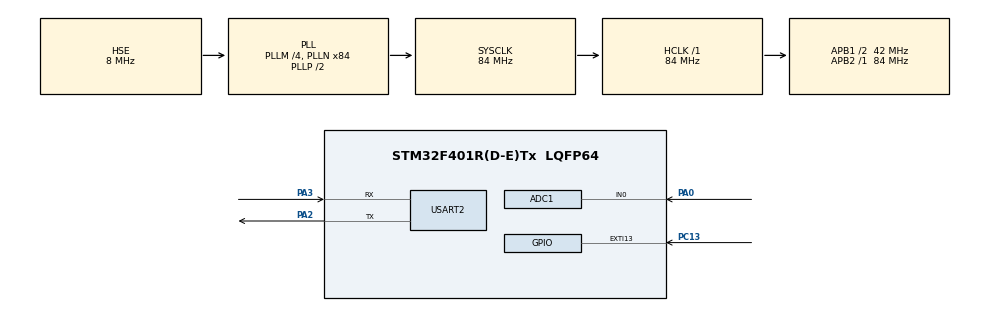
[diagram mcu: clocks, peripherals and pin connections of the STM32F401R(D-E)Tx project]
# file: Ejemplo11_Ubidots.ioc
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ADC1.Channel-0\#ChannelRegularConversion=ADC_CHANNEL_0
ADC1.NbrOfConversionFlag=1
ADC1.Rank-0\#ChannelRegularConversion=1
ADC1.SamplingTime-0\#ChannelRegularConversion=ADC_SAMPLETIME_3CYCLES
ADC1.master=1
Mcu.Family=STM32F4
Mcu.Name=STM32F401R(D-E)Tx
Mcu.Package=LQFP64
NVIC.EXTI15_10_IRQn=true\:0\:0\:false\:false\:true\:true\:true\:true
NVIC.PriorityGroup=NVIC_PRIORITYGROUP_4
NVIC.USART2_IRQn=true\:0\:0\:false\:false\:true\:true\:true\:true
PA0-WKUP.Signal=ADCx_IN0
PA13.Mode=Serial_Wire
PA13.Signal=SYS_JTMS-SWDIO
PA14.Mode=Serial_Wire
PA14.Signal=SYS_JTCK-SWCLK
PA2.Mode=Asynchronous
PA2.Signal=USART2_TX
PA3.Mode=Asynchronous
PA3.Signal=USART2_RX
PC13-ANTI_TAMP.GPIO_ModeDefaultEXTI=GPIO_MODE_IT_FALLING
PC13-ANTI_TAMP.GPIO_PuPd=GPIO_PULLUP
PC13-ANTI_TAMP.Signal=GPXTI13
PH0\ -\ OSC_IN.Mode=HSE-External-Clock-Source
PH0\ -\ OSC_IN.Signal=RCC_OSC_IN
PH1\ -\ OSC_OUT.Mode=HSE-External-Clock-Source
PH1\ -\ OSC_OUT.Signal=RCC_OSC_OUT
ProjectManager.HeapSize=0x200
ProjectManager.StackSize=0x400
ProjectManager.TargetToolchain=STM32CubeIDE
RCC.48MHZClocksFreq_Value=42000000
RCC.AHBFreq_Value=84000000
RCC.APB1CLKDivider=RCC_HCLK_DIV2
RCC.APB1Freq_Value=42000000
RCC.APB1TimFreq_Value=84000000
RCC.APB2Freq_Value=84000000
RCC.APB2TimFreq_Value=84000000
RCC.CortexFreq_Value=84000000
RCC.HCLKFreq_Value=84000000
RCC.HSE_VALUE=8000000
RCC.HSI_VALUE=16000000
RCC.LSE_VALUE=32768
RCC.PLLM=4
RCC.PLLN=84
RCC.PLLSourceVirtual=RCC_PLLSOURCE_HSE
RCC.SYSCLKFreq_VALUE=84000000
RCC.SYSCLKSource=RCC_SYSCLKSOURCE_PLLCLK
RCC.VCOOutputFreq_Value=168000000
SH.ADCx_IN0.0=ADC1_IN0,IN0
USART2.VirtualMode=VM_ASYNC
board=custom

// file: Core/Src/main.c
/* USER CODE BEGIN Header */
/**
  ******************************************************************************
  * @file           : main.c
  * @brief          : Main program body
  ******************************************************************************
  * @attention
  *
  * Copyright (c) 2023 STMicroelectronics.
  * All rights reserved.
  *
  * This software is licensed under terms that can be found in the LICENSE file
  * in the root directory of this software component.
  * If no LICENSE file comes with this software, it is provided AS-IS.
  *
  ******************************************************************************
  */
/* USER CODE END Header */
#include "main.h"

/* USER CODE BEGIN Includes */
#include "stdio.h"
#include "string.h"
/* USER CODE END Includes */

ADC_HandleTypeDef hadc1;

UART_HandleTypeDef huart2;

void SystemClock_Config(void);
static void MX_GPIO_Init(void);
static void MX_ADC1_Init(void);
static void MX_USART2_UART_Init(void);

/* USER CODE BEGIN 0 */
int __io_putchar(int ch){

	  HAL_UART_Transmit(&huart2, (const uint8_t *)&ch, (uint16_t)1, HAL_MAX_DELAY);

	  return ch;
}
uint32_t AnalogRead(uint32_t channel){

	   uint32_t ADC_VALUE;

	  ADC_ChannelConfTypeDef sConfig = {0};

	    sConfig.Channel = channel;
	    sConfig.Rank = 1;
	    sConfig.SamplingTime = ADC_SAMPLETIME_3CYCLES;
	    if (HAL_ADC_ConfigChannel(&hadc1, &sConfig) != HAL_OK)
	    {
	      Error_Handler();
	    }
	    HAL_ADC_Start(&hadc1);
	    if(HAL_ADC_PollForConversion(&hadc1, 1000000)==HAL_OK){

	    	ADC_VALUE = HAL_ADC_GetValue(&hadc1);
	    }
	    HAL_ADC_Stop(&hadc1);
	    return ADC_VALUE;
}
uint16_t adc[3];
volatile uint8_t rx=0;
extern volatile uint8_t contador;
/* USER CODE END 0 */

int main(void)
{

  /* MCU Configuration--------------------------------------------------------*/

  /* Reset of all peripherals, Initializes the Flash interface and the Systick. */
  HAL_Init();

  /* Configure the system clock */
  SystemClock_Config();

  /* Initialize all configured peripherals */
  MX_GPIO_Init();
  MX_ADC1_Init();
  MX_USART2_UART_Init();
  /* USER CODE BEGIN 2 */
  HAL_UART_Receive_IT(&huart2, &rx, 1);
  /* USER CODE END 2 */

  /* Infinite loop */
  while (1)
  {

  }
}

void SystemClock_Config(void)
{
  RCC_OscInitTypeDef RCC_OscInitStruct = {0};
  RCC_ClkInitTypeDef RCC_ClkInitStruct = {0};

  /** Configure the main internal regulator output voltage
  */
  __HAL_RCC_PWR_CLK_ENABLE();
  __HAL_PWR_VOLTAGESCALING_CONFIG(PWR_REGULATOR_VOLTAGE_SCALE2);

  /** Initializes the RCC Oscillators according to the specified parameters
  * in the RCC_OscInitTypeDef structure.
  */
  RCC_OscInitStruct.OscillatorType = RCC_OSCILLATORTYPE_HSE;
  RCC_OscInitStruct.HSEState = RCC_HSE_BYPASS;
  RCC_OscInitStruct.PLL.PLLState = RCC_PLL_ON;
  RCC_OscInitStruct.PLL.PLLSource = RCC_PLLSOURCE_HSE;
  RCC_OscInitStruct.PLL.PLLM = 4;
  RCC_OscInitStruct.PLL.PLLN = 84;
  RCC_OscInitStruct.PLL.PLLP = RCC_PLLP_DIV2;
  RCC_OscInitStruct.PLL.PLLQ = 4;
  if (HAL_RCC_OscConfig(&RCC_OscInitStruct) != HAL_OK)
  {
    Error_Handler();
  }

  /** Initializes the CPU, AHB and APB buses clocks
  */
  RCC_ClkInitStruct.ClockType = RCC_CLOCKTYPE_HCLK|RCC_CLOCKTYPE_SYSCLK
                              |RCC_CLOCKTYPE_PCLK1|RCC_CLOCKTYPE_PCLK2;
  RCC_ClkInitStruct.SYSCLKSource = RCC_SYSCLKSOURCE_PLLCLK;
  RCC_ClkInitStruct.AHBCLKDivider = RCC_SYSCLK_DIV1;
  RCC_ClkInitStruct.APB1CLKDivider = RCC_HCLK_DIV2;
  RCC_ClkInitStruct.APB2CLKDivider = RCC_HCLK_DIV1;

  if (HAL_RCC_ClockConfig(&RCC_ClkInitStruct, FLASH_LATENCY_2) != HAL_OK)
  {
    Error_Handler();
  }
}

static void MX_ADC1_Init(void)
{

  ADC_ChannelConfTypeDef sConfig = {0};

  /** Configure the global features of the ADC (Clock, Resolution, Data Alignment and number of conversion)
  */
  hadc1.Instance = ADC1;
  hadc1.Init.ClockPrescaler = ADC_CLOCK_SYNC_PCLK_DIV4;
  hadc1.Init.Resolution = ADC_RESOLUTION_12B;
  hadc1.Init.ScanConvMode = DISABLE;
  hadc1.Init.ContinuousConvMode = DISABLE;
  hadc1.Init.DiscontinuousConvMode = DISABLE;
  hadc1.Init.ExternalTrigConvEdge = ADC_EXTERNALTRIGCONVEDGE_NONE;
  hadc1.Init.ExternalTrigConv = ADC_SOFTWARE_START;
  hadc1.Init.DataAlign = ADC_DATAALIGN_RIGHT;
  hadc1.Init.NbrOfConversion = 1;
  hadc1.Init.DMAContinuousRequests = DISABLE;
  hadc1.Init.EOCSelection = ADC_EOC_SINGLE_CONV;
  if (HAL_ADC_Init(&hadc1) != HAL_OK)
  {
    Error_Handler();
  }

  /** Configure for the selected ADC regular channel its corresponding rank in the sequencer and its sample time.
  */
  sConfig.Channel = ADC_CHANNEL_0;
  sConfig.Rank = 1;
  sConfig.SamplingTime = ADC_SAMPLETIME_3CYCLES;
  if (HAL_ADC_ConfigChannel(&hadc1, &sConfig) != HAL_OK)
  {
    Error_Handler();
  }

}

static void MX_USART2_UART_Init(void)
{

  huart2.Instance = USART2;
  huart2.Init.BaudRate = 115200;
  huart2.Init.WordLength = UART_WORDLENGTH_8B;
  huart2.Init.StopBits = UART_STOPBITS_1;
  huart2.Init.Parity = UART_PARITY_NONE;
  huart2.Init.Mode = UART_MODE_TX_RX;
  huart2.Init.HwFlowCtl = UART_HWCONTROL_NONE;
  huart2.Init.OverSampling = UART_OVERSAMPLING_16;
  if (HAL_UART_Init(&huart2) != HAL_OK)
  {
    Error_Handler();
  }

}

static void MX_GPIO_Init(void)
{
  GPIO_InitTypeDef GPIO_InitStruct = {0};

  /* GPIO Ports Clock Enable */
  __HAL_RCC_GPIOC_CLK_ENABLE();
  __HAL_RCC_GPIOH_CLK_ENABLE();
  __HAL_RCC_GPIOA_CLK_ENABLE();

  /*Configure GPIO pin : PC13 */
  GPIO_InitStruct.Pin = GPIO_PIN_13;
  GPIO_InitStruct.Mode = GPIO_MODE_IT_FALLING;
  GPIO_InitStruct.Pull = GPIO_PULLUP;
  HAL_GPIO_Init(GPIOC, &GPIO_InitStruct);

  /* EXTI interrupt init*/
  HAL_NVIC_SetPriority(EXTI15_10_IRQn, 0, 0);
  HAL_NVIC_EnableIRQ(EXTI15_10_IRQn);

}

/* USER CODE BEGIN 4 */
void HAL_UART_RxCpltCallback(UART_HandleTypeDef *huart){

	switch (rx) {
		case '*':
		adc[0] =	AnalogRead(ADC_CHANNEL_0);
			printf("%u;%u\r\n",adc[0],contador);

			break;
		default:
			break;
	}

	  HAL_UART_Receive_IT(&huart2, &rx, 1);

}

/* USER CODE END 4 */

void Error_Handler(void)
{
  __disable_irq();
  while (1)
  {
  }
}
